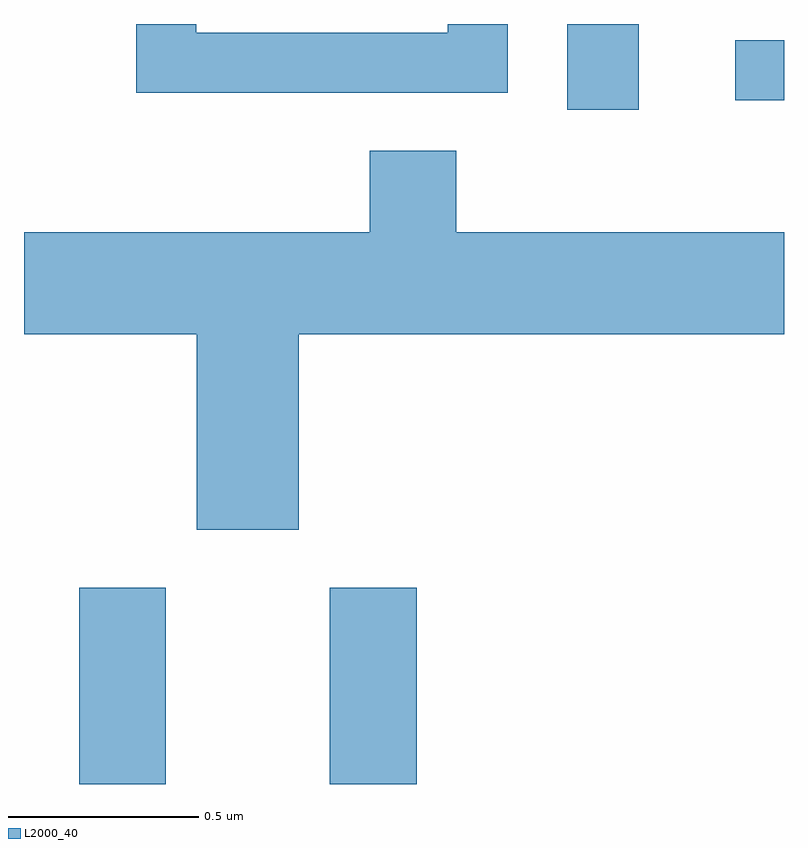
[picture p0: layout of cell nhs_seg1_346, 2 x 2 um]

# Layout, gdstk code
import gdstk
lib = gdstk.Library(unit=1e-6, precision=1e-09)
def R(c, l, rs):  # rectangles x0, y0, x1, y1
    for r in rs: c.add(gdstk.rectangle(r[:2], r[2:], *l))
def P(c, l, *ps):  # polygons
    for p in ps: c.add(gdstk.Polygon(p, *l))
L2000_40 = (2000, 40)

nhs_seg1_346 = lib.new_cell('nhs_seg1_346')
R(nhs_seg1_346, L2000_40, [(187.756,911.712,187.984,912.229), (188.416,911.712,188.644,912.229), (189.041,913.486,189.229,913.712), (189.483,913.511,189.611,913.669)])
P(nhs_seg1_346, L2000_40, [(188.884,913.712),(188.726,913.712),(188.726,913.689),(188.064,913.689),(188.064,913.712),(187.906,913.712),(187.906,913.531),(188.884,913.531)],
  [(188.334,912.896),(189.611,912.896),(189.611,913.164),(188.749,913.164),(188.749,913.379),(188.521,913.379),(188.521,913.164),(187.611,913.164),(187.611,912.896),(188.066,912.896),(188.066,912.381),(188.334,912.381)])

lib.write_gds('nhs_seg1_346.gds')
